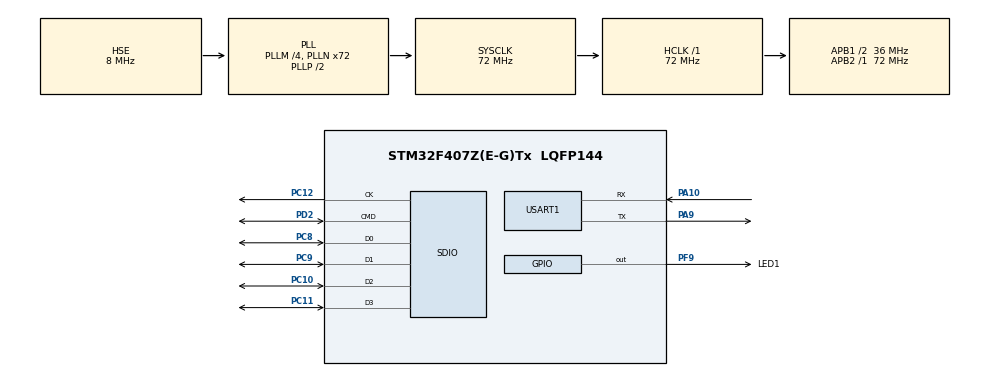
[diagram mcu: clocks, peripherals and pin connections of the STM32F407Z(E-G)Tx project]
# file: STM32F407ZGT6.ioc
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Dma.Request0=SDIO_TX
Dma.Request1=SDIO_RX
Dma.SDIO_RX.1.Direction=DMA_PERIPH_TO_MEMORY
Dma.SDIO_RX.1.FIFOMode=DMA_FIFOMODE_ENABLE
Dma.SDIO_RX.1.FIFOThreshold=DMA_FIFO_THRESHOLD_FULL
Dma.SDIO_RX.1.Instance=DMA2_Stream6
Dma.SDIO_RX.1.MemBurst=DMA_MBURST_INC4
Dma.SDIO_RX.1.MemDataAlignment=DMA_MDATAALIGN_WORD
Dma.SDIO_RX.1.MemInc=DMA_MINC_ENABLE
Dma.SDIO_RX.1.Mode=DMA_PFCTRL
Dma.SDIO_RX.1.PeriphBurst=DMA_PBURST_INC4
Dma.SDIO_RX.1.PeriphDataAlignment=DMA_PDATAALIGN_WORD
Dma.SDIO_RX.1.PeriphInc=DMA_PINC_DISABLE
Dma.SDIO_RX.1.Priority=DMA_PRIORITY_LOW
Dma.SDIO_TX.0.Direction=DMA_MEMORY_TO_PERIPH
Dma.SDIO_TX.0.FIFOMode=DMA_FIFOMODE_ENABLE
Dma.SDIO_TX.0.FIFOThreshold=DMA_FIFO_THRESHOLD_FULL
Dma.SDIO_TX.0.Instance=DMA2_Stream3
Dma.SDIO_TX.0.MemBurst=DMA_MBURST_INC4
Dma.SDIO_TX.0.MemDataAlignment=DMA_MDATAALIGN_WORD
Dma.SDIO_TX.0.MemInc=DMA_MINC_ENABLE
Dma.SDIO_TX.0.Mode=DMA_PFCTRL
Dma.SDIO_TX.0.PeriphBurst=DMA_PBURST_INC4
Dma.SDIO_TX.0.PeriphDataAlignment=DMA_PDATAALIGN_WORD
Dma.SDIO_TX.0.PeriphInc=DMA_PINC_DISABLE
Dma.SDIO_TX.0.Priority=DMA_PRIORITY_LOW
FATFS._CODE_PAGE=936
FATFS._USE_LFN=2
FATFS._VOLUMES=1
Mcu.Family=STM32F4
Mcu.Name=STM32F407Z(E-G)Tx
Mcu.Package=LQFP144
NVIC.DMA2_Stream3_IRQn=true\:0\:0\:false\:false\:true\:false\:true
NVIC.DMA2_Stream6_IRQn=true\:0\:0\:false\:false\:true\:false\:true
NVIC.PriorityGroup=NVIC_PRIORITYGROUP_4
NVIC.SDIO_IRQn=true\:0\:0\:false\:false\:true\:true\:true
NVIC.USART1_IRQn=true\:0\:0\:false\:false\:true\:true\:true
PA10.Mode=Asynchronous
PA10.Signal=USART1_RX
PA13.Mode=Serial_Wire
PA13.Signal=SYS_JTMS-SWDIO
PA14.Mode=Serial_Wire
PA14.Signal=SYS_JTCK-SWCLK
PA9.Mode=Asynchronous
PA9.Signal=USART1_TX
PC10.Mode=SD_4_bits_Wide_bus
PC10.Signal=SDIO_D2
PC11.Mode=SD_4_bits_Wide_bus
PC11.Signal=SDIO_D3
PC12.Mode=SD_4_bits_Wide_bus
PC12.Signal=SDIO_CK
PC14-OSC32_IN.Mode=LSE-External-Oscillator
PC14-OSC32_IN.Signal=RCC_OSC32_IN
PC15-OSC32_OUT.Mode=LSE-External-Oscillator
PC15-OSC32_OUT.Signal=RCC_OSC32_OUT
PC8.Mode=SD_4_bits_Wide_bus
PC8.Signal=SDIO_D0
PC9.Mode=SD_4_bits_Wide_bus
PC9.Signal=SDIO_D1
PD2.Mode=SD_4_bits_Wide_bus
PD2.Signal=SDIO_CMD
PF9.GPIO_Label=LED1
PF9.Signal=GPIO_Output
PH0-OSC_IN.Mode=HSE-External-Oscillator
PH0-OSC_IN.Signal=RCC_OSC_IN
PH1-OSC_OUT.Mode=HSE-External-Oscillator
PH1-OSC_OUT.Signal=RCC_OSC_OUT
ProjectManager.HeapSize=0x200
ProjectManager.StackSize=0x1000
ProjectManager.TargetToolchain=MDK-ARM V5.32
RCC.48MHZClocksFreq_Value=48000000
RCC.AHBFreq_Value=72000000
RCC.APB1CLKDivider=RCC_HCLK_DIV2
RCC.APB1Freq_Value=36000000
RCC.APB1TimFreq_Value=72000000
RCC.APB2Freq_Value=72000000
RCC.APB2TimFreq_Value=72000000
RCC.CortexFreq_Value=72000000
RCC.HCLKFreq_Value=72000000
RCC.HSE_VALUE=8000000
RCC.HSI_VALUE=16000000
RCC.PLLM=4
RCC.PLLN=72
RCC.PLLQ=3
RCC.PLLSourceVirtual=RCC_PLLSOURCE_HSE
RCC.SYSCLKFreq_VALUE=72000000
RCC.SYSCLKSource=RCC_SYSCLKSOURCE_PLLCLK
RCC.VCOOutputFreq_Value=144000000
SDIO.ClockDiv=8
USART1.VirtualMode=VM_ASYNC
VP_FATFS_VS_SDIO.Mode=SDIO
board=custom

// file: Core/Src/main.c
/* USER CODE BEGIN Header */
/**
  ******************************************************************************
  * @file           : main.c
  * @brief          : Main program body
  ******************************************************************************
  * @attention
  *
  * <h2><center>&copy; Copyright (c) 2021 STMicroelectronics.
  * All rights reserved.</center></h2>
  *
  * This software component is licensed by ST under BSD 3-Clause license,
  * the "License"; You may not use this file except in compliance with the
  * License. You may obtain a copy of the License at:
  *                        opensource.org/licenses/BSD-3-Clause
  *
  ******************************************************************************
  */
/* USER CODE END Header */
#include "main.h"
#include "dma.h"
#include "fatfs.h"
#include "sdio.h"
#include "usart.h"
#include "gpio.h"

/* USER CODE BEGIN Includes */
#include "stdio.h"

/* USER CODE END Includes */

/* USER CODE BEGIN PV */
uint32_t byteswritten;                /* File write counts */
uint32_t bytesread;                   /* File read counts */
uint8_t wtext[] = "This is STM32 working with FatFs"; /* File write buffer */
uint8_t rtext[100];                     /* File read buffers */
char filename[] = "STM32cube.txt";
/* USER CODE END PV */

void SystemClock_Config(void);

int main(void)
{

  /* MCU Configuration--------------------------------------------------------*/

  /* Reset of all peripherals, Initializes the Flash interface and the Systick. */
  HAL_Init();

  /* Configure the system clock */
  SystemClock_Config();

  /* Initialize all configured peripherals */
  MX_GPIO_Init();
  MX_USART1_UART_Init();
  MX_SDIO_SD_Init();
  MX_DMA_Init();
  MX_FATFS_Init();
  /* USER CODE BEGIN 2 */
	HAL_GPIO_WritePin(LED1_GPIO_Port, LED1_Pin, GPIO_PIN_RESET);
	printf("****** FatFs Example ******\r\n");
	retSD = f_mount(&SDFatFS, "0:", 0);
	if(retSD){
			printf("****** mount error ******\r\n");
	}
	else
			printf("****** mount success!!! ******\r\n");
	retSD = f_open(&SDFile, filename, FA_CREATE_ALWAYS | FA_WRITE);
	if(retSD){
			printf("****** open file error ******\r\n");
	}
	else
			printf("****** open file success!!! ******\r\n");
	retSD = f_write(&SDFile, wtext, sizeof(wtext), (void *)&byteswritten);
	if(retSD){
		printf("****** write file error ******\r\n");
	}
	else
			printf("****** write file success!!! ******\r\n");
	retSD = f_close(&SDFile);
	if(retSD){
		printf("****** close file error ******\r\n");
	}
	else
			printf("****** close file success!!! ******\r\n");

  /* USER CODE END 2 */

  /* Infinite loop */
  while (1)
  {

  }
}

void SystemClock_Config(void)
{
  RCC_OscInitTypeDef RCC_OscInitStruct = {0};
  RCC_ClkInitTypeDef RCC_ClkInitStruct = {0};

  /** Configure the main internal regulator output voltage
  */
  __HAL_RCC_PWR_CLK_ENABLE();
  __HAL_PWR_VOLTAGESCALING_CONFIG(PWR_REGULATOR_VOLTAGE_SCALE1);
  /** Initializes the RCC Oscillators according to the specified parameters
  * in the RCC_OscInitTypeDef structure.
  */
  RCC_OscInitStruct.OscillatorType = RCC_OSCILLATORTYPE_HSE;
  RCC_OscInitStruct.HSEState = RCC_HSE_ON;
  RCC_OscInitStruct.PLL.PLLState = RCC_PLL_ON;
  RCC_OscInitStruct.PLL.PLLSource = RCC_PLLSOURCE_HSE;
  RCC_OscInitStruct.PLL.PLLM = 4;
  RCC_OscInitStruct.PLL.PLLN = 72;
  RCC_OscInitStruct.PLL.PLLP = RCC_PLLP_DIV2;
  RCC_OscInitStruct.PLL.PLLQ = 3;
  if (HAL_RCC_OscConfig(&RCC_OscInitStruct) != HAL_OK)
  {
    Error_Handler();
  }
  /** Initializes the CPU, AHB and APB buses clocks
  */
  RCC_ClkInitStruct.ClockType = RCC_CLOCKTYPE_HCLK|RCC_CLOCKTYPE_SYSCLK
                              |RCC_CLOCKTYPE_PCLK1|RCC_CLOCKTYPE_PCLK2;
  RCC_ClkInitStruct.SYSCLKSource = RCC_SYSCLKSOURCE_PLLCLK;
  RCC_ClkInitStruct.AHBCLKDivider = RCC_SYSCLK_DIV1;
  RCC_ClkInitStruct.APB1CLKDivider = RCC_HCLK_DIV2;
  RCC_ClkInitStruct.APB2CLKDivider = RCC_HCLK_DIV1;

  if (HAL_RCC_ClockConfig(&RCC_ClkInitStruct, FLASH_LATENCY_2) != HAL_OK)
  {
    Error_Handler();
  }
}

/* USER CODE BEGIN 4 */
int fputc(int ch, FILE *f)
{
  HAL_UART_Transmit(&huart1, (uint8_t *)&ch, 1, 0xffff);
  return ch;
}

/* USER CODE END 4 */

void Error_Handler(void)
{
  __disable_irq();
  while (1)
  {
  }
}

/************************ (C) COPYRIGHT STMicroelectronics *****END OF FILE****/
